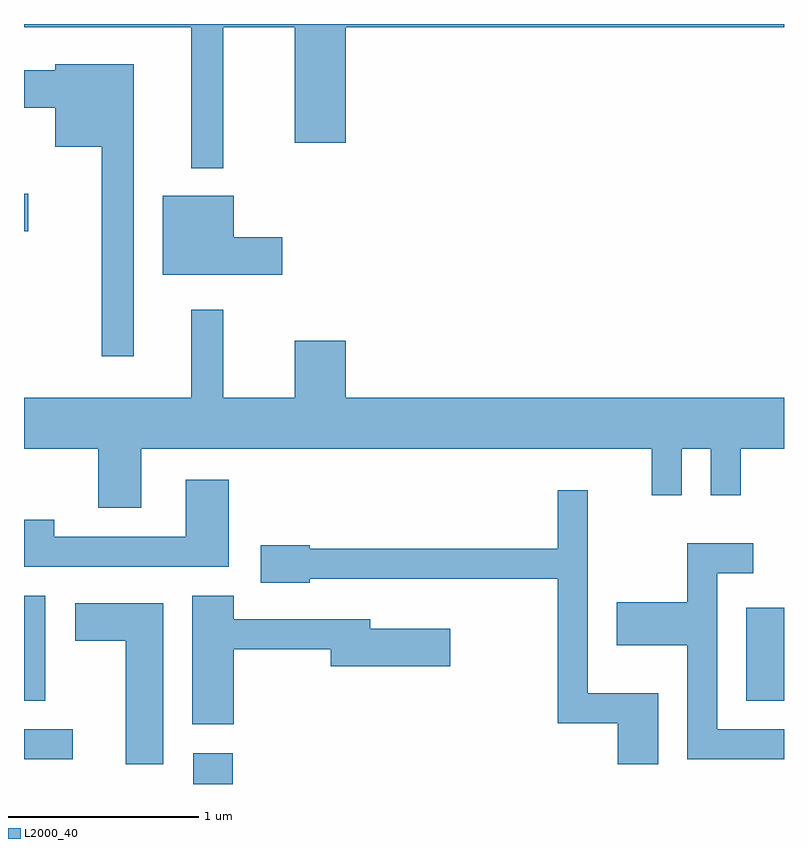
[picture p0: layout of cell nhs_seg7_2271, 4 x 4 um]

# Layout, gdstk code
import gdstk
lib = gdstk.Library(unit=1e-6, precision=1e-09)
def R(c, l, rs):  # rectangles x0, y0, x1, y1
    for r in rs: c.add(gdstk.rectangle(r[:2], r[2:], *l))
def P(c, l, *ps):  # polygons
    for p in ps: c.add(gdstk.Polygon(p, *l))
L2000_40 = (2000, 40)

nhs_seg7_2271 = lib.new_cell('nhs_seg7_2271')
R(nhs_seg7_2271, L2000_40, [(254.501,1790.252,254.709,1790.414), (253.611,1790.381,253.868,1790.539), (253.611,1790.691,253.724,1791.244), (257.411,1790.691,257.611,1791.179), (253.611,1793.161,253.634,1793.359)])
P(nhs_seg7_2271, L2000_40, [(254.659,1794.236),(255.036,1794.236),(255.036,1793.626),(255.304,1793.626),(255.304,1794.236),(257.611,1794.236),(257.611,1794.252),(253.611,1794.252),(253.611,1794.236),(254.491,1794.236),(254.491,1793.493),(254.659,1793.493)],
  [(254.189,1794.039),(253.776,1794.039),(253.776,1794.009),(253.611,1794.009),(253.611,1793.811),(253.776,1793.811),(253.776,1793.606),(254.021,1793.606),(254.021,1792.503),(254.189,1792.503)],
  [(254.969,1793.129),(254.714,1793.129),(254.714,1793.349),(254.341,1793.349),(254.341,1792.931),(254.969,1792.931)],
  [(254.229,1792.016),(256.916,1792.016),(256.916,1791.773),(257.074,1791.773),(257.074,1792.016),(257.226,1792.016),(257.226,1791.773),(257.384,1791.773),(257.384,1792.016),(257.611,1792.016),(257.611,1792.284),(255.304,1792.284),(255.304,1792.584),(255.036,1792.584),(255.036,1792.284),(254.659,1792.284),(254.659,1792.748),(254.491,1792.748),(254.491,1792.284),(253.611,1792.284),(253.611,1792.016),(254.001,1792.016),(254.001,1791.706),(254.229,1791.706)],
  [(254.689,1791.854),(254.461,1791.854),(254.461,1791.554),(253.769,1791.554),(253.769,1791.644),(253.611,1791.644),(253.611,1791.396),(254.689,1791.396)],
  [(256.949,1790.729),(256.579,1790.729),(256.579,1791.798),(256.421,1791.798),(256.421,1791.489),(255.114,1791.489),(255.114,1791.509),(254.856,1791.509),(254.856,1791.311),(255.114,1791.311),(255.114,1791.331),(256.421,1791.331),(256.421,1790.571),(256.736,1790.571),(256.736,1790.356),(256.949,1790.356)],
  [(257.611,1790.539),(257.259,1790.539),(257.259,1791.361),(257.448,1791.361),(257.448,1791.519),(257.101,1791.519),(257.101,1791.209),(256.731,1791.209),(256.731,1790.981),(257.101,1790.981),(257.101,1790.381),(257.611,1790.381)],
  [(254.714,1790.961),(255.226,1790.961),(255.226,1790.871),(255.854,1790.871),(255.854,1791.069),(255.434,1791.069),(255.434,1791.119),(254.714,1791.119),(254.714,1791.244),(254.496,1791.244),(254.496,1790.566),(254.714,1790.566)],
  [(254.344,1791.204),(253.881,1791.204),(253.881,1791.006),(254.146,1791.006),(254.146,1790.356),(254.344,1790.356)])

lib.write_gds('nhs_seg7_2271.gds')
